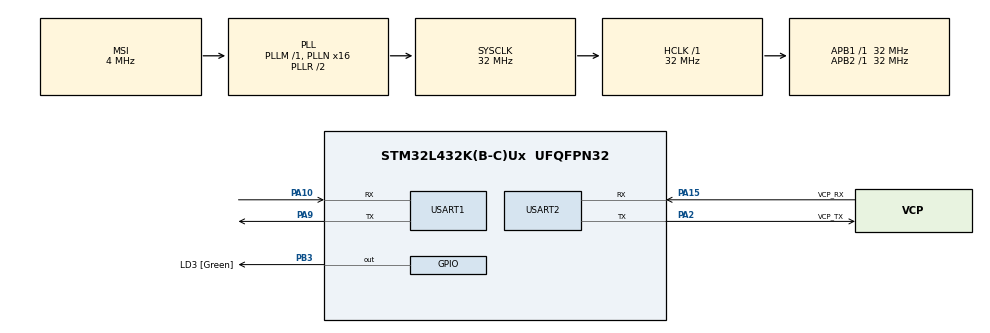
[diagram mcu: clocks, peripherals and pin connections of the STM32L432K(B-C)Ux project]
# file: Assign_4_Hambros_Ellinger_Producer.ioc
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Dma.Request0=USART1_RX
Dma.Request1=USART2_RX
Dma.USART1_RX.0.Direction=DMA_PERIPH_TO_MEMORY
Dma.USART1_RX.0.Instance=DMA1_Channel5
Dma.USART1_RX.0.MemDataAlignment=DMA_MDATAALIGN_BYTE
Dma.USART1_RX.0.MemInc=DMA_MINC_ENABLE
Dma.USART1_RX.0.Mode=DMA_CIRCULAR
Dma.USART1_RX.0.PeriphDataAlignment=DMA_PDATAALIGN_BYTE
Dma.USART1_RX.0.PeriphInc=DMA_PINC_DISABLE
Dma.USART1_RX.0.Priority=DMA_PRIORITY_LOW
Dma.USART2_RX.1.Direction=DMA_PERIPH_TO_MEMORY
Dma.USART2_RX.1.Instance=DMA1_Channel6
Dma.USART2_RX.1.MemDataAlignment=DMA_MDATAALIGN_BYTE
Dma.USART2_RX.1.MemInc=DMA_MINC_ENABLE
Dma.USART2_RX.1.Mode=DMA_CIRCULAR
Dma.USART2_RX.1.PeriphDataAlignment=DMA_PDATAALIGN_BYTE
Dma.USART2_RX.1.PeriphInc=DMA_PINC_DISABLE
Dma.USART2_RX.1.Priority=DMA_PRIORITY_LOW
FREERTOS.CountingSemaphores01=LedSemaphore,4,Dynamic,NULL,0
FREERTOS.Queues01=producerQueue,32,struct producer_msg,0,Dynamic,NULL,NULL;monitorQueue,8,struct monitor_msg,0,Dynamic,NULL,NULL;UARTcommandQueue,8,struct UART_command,0,Dynamic,NULL,NULL
FREERTOS.Tasks01=MonitorTask,32,1200,StartMonitorTask,Default,NULL,Dynamic,NULL,NULL;UARTTask,24,600,StartUARTTask,Default,NULL,Dynamic,NULL,NULL;GreenLEDTAsk,8,128,StartGreenLEDTask,Default,NULL,Dynamic,NULL,NULL
FREERTOS.configTOTAL_HEAP_SIZE=16000
FREERTOS.configUSE_NEWLIB_REENTRANT=1
Mcu.Family=STM32L4
Mcu.Name=STM32L432K(B-C)Ux
Mcu.Package=UFQFPN32
NVIC.DMA1_Channel5_IRQn=true\:5\:0\:false\:false\:true\:true\:false\:true\:true
NVIC.DMA1_Channel6_IRQn=true\:5\:0\:false\:false\:true\:true\:false\:true\:true
NVIC.PriorityGroup=NVIC_PRIORITYGROUP_4
NVIC.TIM7_IRQn=true\:15\:0\:false\:false\:true\:false\:false\:true\:true
NVIC.TimeBase=TIM7_IRQn
NVIC.TimeBaseIP=TIM7
PA0.GPIO_Label=MCO [High speed clock in]
PA0.Mode=HSE-External-Clock-Source-for-LittleOrca
PA0.Signal=RCC_CK_IN
PA10.Mode=Asynchronous
PA10.Signal=USART1_RX
PA13\ (JTMS-SWDIO).GPIO_Label=SWDIO
PA13\ (JTMS-SWDIO).Mode=Serial_Wire
PA13\ (JTMS-SWDIO).Signal=SYS_JTMS-SWDIO
PA14\ (JTCK-SWCLK).GPIO_Label=SWCLK
PA14\ (JTCK-SWCLK).Mode=Serial_Wire
PA14\ (JTCK-SWCLK).Signal=SYS_JTCK-SWCLK
PA15\ (JTDI).GPIO_Label=VCP_RX
PA15\ (JTDI).Mode=Asynchronous
PA15\ (JTDI).Signal=USART2_RX
PA2.GPIO_Label=VCP_TX
PA2.Mode=Asynchronous
PA2.Signal=USART2_TX
PA9.Mode=Asynchronous
PA9.Signal=USART1_TX
PB3\ (JTDO-TRACESWO).GPIO_Label=LD3 [Green]
PB3\ (JTDO-TRACESWO).Signal=GPIO_Output
PC14-OSC32_IN\ (PC14).Mode=LSE-External-Oscillator
PC14-OSC32_IN\ (PC14).Signal=RCC_OSC32_IN
PC15-OSC32_OUT\ (PC15).Mode=LSE-External-Oscillator
PC15-OSC32_OUT\ (PC15).Signal=RCC_OSC32_OUT
ProjectManager.HeapSize=0x200
ProjectManager.StackSize=0x400
ProjectManager.TargetToolchain=STM32CubeIDE
RCC.AHBFreq_Value=32000000
RCC.APB1Freq_Value=32000000
RCC.APB1TimFreq_Value=32000000
RCC.APB2Freq_Value=32000000
RCC.APB2TimFreq_Value=32000000
RCC.CortexFreq_Value=32000000
RCC.HCLKFreq_Value=32000000
RCC.HSE_VALUE=8000000
RCC.HSI16_VALUE=16000000
RCC.HSI48_VALUE=48000000
RCC.HSI_VALUE=16000000
RCC.MSI_VALUE=4000000
RCC.PLLMUL=RCC_PLLMUL_4
RCC.PLLN=16
RCC.SYSCLKFreq_VALUE=32000000
RCC.SYSCLKSource=RCC_SYSCLKSOURCE_PLLCLK
RCC.VCOOutputFreq_Value=64000000
USART1.VirtualMode-Asynchronous=VM_ASYNC
USART2.VirtualMode-Asynchronous=VM_ASYNC
VP_FREERTOS_VS_CMSIS_V2.Mode=CMSIS_V2
VP_SYS_VS_tim7.Mode=TIM7
board=NUCLEO-L432KC

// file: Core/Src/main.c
/* USER CODE BEGIN Header */
/**
  ******************************************************************************
  * @file           : main.c
  * @brief          : Main program body
  ******************************************************************************
  * @attention
  *
  * Copyright (c) 2026 STMicroelectronics.
  * All rights reserved.
  *
  * This software is licensed under terms that can be found in the LICENSE file
  * in the root directory of this software component.
  * If no LICENSE file comes with this software, it is provided AS-IS.
  *
  ******************************************************************************
  */
/* USER CODE END Header */
#include "main.h"
#include "cmsis_os.h"

/* USER CODE BEGIN Includes */
#include "monitor_task.h"
#include "producer_task.h"
#include "UART_task.h"
#include "queue.h"
#include <stdio.h>
#include "semphr.h"

/* USER CODE END Includes */

/* USER CODE BEGIN PD */
#define UART_RX_BUF_SIZE 50
#define UART_TX_BUF_SIZE 150

/* USER CODE END PD */

UART_HandleTypeDef huart1;
UART_HandleTypeDef huart2;
DMA_HandleTypeDef hdma_usart1_rx;
DMA_HandleTypeDef hdma_usart2_rx;

/* Definitions for MonitorTask */
osThreadId_t MonitorTaskHandle;
const osThreadAttr_t MonitorTask_attributes = {
  .name = "MonitorTask",
  .stack_size = 1200 * 4,
  .priority = (osPriority_t) osPriorityAboveNormal,
};
/* Definitions for UARTTask */
osThreadId_t UARTTaskHandle;
const osThreadAttr_t UARTTask_attributes = {
  .name = "UARTTask",
  .stack_size = 600 * 4,
  .priority = (osPriority_t) osPriorityNormal,
};
/* Definitions for GreenLEDTAsk */
osThreadId_t GreenLEDTAskHandle;
const osThreadAttr_t GreenLEDTAsk_attributes = {
  .name = "GreenLEDTAsk",
  .stack_size = 128 * 4,
  .priority = (osPriority_t) osPriorityLow,
};
/* Definitions for producerQueue */
osMessageQueueId_t producerQueueHandle;
const osMessageQueueAttr_t producerQueue_attributes = {
  .name = "producerQueue"
};
/* Definitions for monitorQueue */
osMessageQueueId_t monitorQueueHandle;
const osMessageQueueAttr_t monitorQueue_attributes = {
  .name = "monitorQueue"
};
/* Definitions for UARTcommandQueue */
osMessageQueueId_t UARTcommandQueueHandle;
const osMessageQueueAttr_t UARTcommandQueue_attributes = {
  .name = "UARTcommandQueue"
};
/* Definitions for LedSemaphore */
osSemaphoreId_t LedSemaphoreHandle;
const osSemaphoreAttr_t LedSemaphore_attributes = {
  .name = "LedSemaphore"
};

void SystemClock_Config(void);
static void MX_GPIO_Init(void);
static void MX_DMA_Init(void);
static void MX_USART2_UART_Init(void);
static void MX_USART1_UART_Init(void);
void StartMonitorTask(void *argument);
void StartUARTTask(void *argument);
void StartGreenLEDTask(void *argument);

int main(void)
{

  /* MCU Configuration--------------------------------------------------------*/

  /* Reset of all peripherals, Initializes the Flash interface and the Systick. */
  HAL_Init();

  /* Configure the system clock */
  SystemClock_Config();

  /* Initialize all configured peripherals */
  MX_GPIO_Init();
  MX_DMA_Init();
  MX_USART2_UART_Init();
  MX_USART1_UART_Init();

  /* Init scheduler */
  osKernelInitialize();

  /* Create the semaphores(s) */
  /* creation of LedSemaphore */
  LedSemaphoreHandle = osSemaphoreNew(4, 0, &LedSemaphore_attributes);

  /* Create the queue(s) */
  /* creation of producerQueue */
  producerQueueHandle = osMessageQueueNew (32, sizeof(struct producer_msg), &producerQueue_attributes);

  /* creation of monitorQueue */
  monitorQueueHandle = osMessageQueueNew (8, sizeof(struct monitor_msg), &monitorQueue_attributes);

  /* creation of UARTcommandQueue */
  UARTcommandQueueHandle = osMessageQueueNew (8, sizeof(struct UART_command), &UARTcommandQueue_attributes);

  /* Create the thread(s) */
  /* creation of MonitorTask */
  MonitorTaskHandle = osThreadNew(StartMonitorTask, NULL, &MonitorTask_attributes);

  /* creation of UARTTask */
  UARTTaskHandle = osThreadNew(StartUARTTask, NULL, &UARTTask_attributes);

  /* creation of GreenLEDTAsk */
  GreenLEDTAskHandle = osThreadNew(StartGreenLEDTask, NULL, &GreenLEDTAsk_attributes);

  /* Start scheduler */
  osKernelStart();

  /* We should never get here as control is now taken by the scheduler */

  /* Infinite loop */
  while (1)
  {

  }
}

void SystemClock_Config(void)
{
  RCC_OscInitTypeDef RCC_OscInitStruct = {0};
  RCC_ClkInitTypeDef RCC_ClkInitStruct = {0};

  /** Configure the main internal regulator output voltage
  */
  if (HAL_PWREx_ControlVoltageScaling(PWR_REGULATOR_VOLTAGE_SCALE1) != HAL_OK)
  {
    Error_Handler();
  }

  /** Configure LSE Drive Capability
  */
  HAL_PWR_EnableBkUpAccess();
  __HAL_RCC_LSEDRIVE_CONFIG(RCC_LSEDRIVE_LOW);

  /** Initializes the RCC Oscillators according to the specified parameters
  * in the RCC_OscInitTypeDef structure.
  */
  RCC_OscInitStruct.OscillatorType = RCC_OSCILLATORTYPE_LSE|RCC_OSCILLATORTYPE_MSI;
  RCC_OscInitStruct.LSEState = RCC_LSE_ON;
  RCC_OscInitStruct.MSIState = RCC_MSI_ON;
  RCC_OscInitStruct.MSICalibrationValue = 0;
  RCC_OscInitStruct.MSIClockRange = RCC_MSIRANGE_6;
  RCC_OscInitStruct.PLL.PLLState = RCC_PLL_ON;
  RCC_OscInitStruct.PLL.PLLSource = RCC_PLLSOURCE_MSI;
  RCC_OscInitStruct.PLL.PLLM = 1;
  RCC_OscInitStruct.PLL.PLLN = 16;
  RCC_OscInitStruct.PLL.PLLP = RCC_PLLP_DIV7;
  RCC_OscInitStruct.PLL.PLLQ = RCC_PLLQ_DIV2;
  RCC_OscInitStruct.PLL.PLLR = RCC_PLLR_DIV2;
  if (HAL_RCC_OscConfig(&RCC_OscInitStruct) != HAL_OK)
  {
    Error_Handler();
  }

  /** Initializes the CPU, AHB and APB buses clocks
  */
  RCC_ClkInitStruct.ClockType = RCC_CLOCKTYPE_HCLK|RCC_CLOCKTYPE_SYSCLK
                              |RCC_CLOCKTYPE_PCLK1|RCC_CLOCKTYPE_PCLK2;
  RCC_ClkInitStruct.SYSCLKSource = RCC_SYSCLKSOURCE_PLLCLK;
  RCC_ClkInitStruct.AHBCLKDivider = RCC_SYSCLK_DIV1;
  RCC_ClkInitStruct.APB1CLKDivider = RCC_HCLK_DIV1;
  RCC_ClkInitStruct.APB2CLKDivider = RCC_HCLK_DIV1;

  if (HAL_RCC_ClockConfig(&RCC_ClkInitStruct, FLASH_LATENCY_1) != HAL_OK)
  {
    Error_Handler();
  }

  /** Enable MSI Auto calibration
  */
  HAL_RCCEx_EnableMSIPLLMode();
}

static void MX_USART1_UART_Init(void)
{

  huart1.Instance = USART1;
  huart1.Init.BaudRate = 115200;
  huart1.Init.WordLength = UART_WORDLENGTH_8B;
  huart1.Init.StopBits = UART_STOPBITS_1;
  huart1.Init.Parity = UART_PARITY_NONE;
  huart1.Init.Mode = UART_MODE_TX_RX;
  huart1.Init.HwFlowCtl = UART_HWCONTROL_NONE;
  huart1.Init.OverSampling = UART_OVERSAMPLING_16;
  huart1.Init.OneBitSampling = UART_ONE_BIT_SAMPLE_DISABLE;
  huart1.AdvancedInit.AdvFeatureInit = UART_ADVFEATURE_NO_INIT;
  if (HAL_UART_Init(&huart1) != HAL_OK)
  {
    Error_Handler();
  }

}

static void MX_USART2_UART_Init(void)
{

  huart2.Instance = USART2;
  huart2.Init.BaudRate = 115200;
  huart2.Init.WordLength = UART_WORDLENGTH_8B;
  huart2.Init.StopBits = UART_STOPBITS_1;
  huart2.Init.Parity = UART_PARITY_NONE;
  huart2.Init.Mode = UART_MODE_TX_RX;
  huart2.Init.HwFlowCtl = UART_HWCONTROL_NONE;
  huart2.Init.OverSampling = UART_OVERSAMPLING_16;
  huart2.Init.OneBitSampling = UART_ONE_BIT_SAMPLE_DISABLE;
  huart2.AdvancedInit.AdvFeatureInit = UART_ADVFEATURE_NO_INIT;
  if (HAL_UART_Init(&huart2) != HAL_OK)
  {
    Error_Handler();
  }

}

static void MX_DMA_Init(void)
{

  /* DMA controller clock enable */
  __HAL_RCC_DMA1_CLK_ENABLE();

  /* DMA interrupt init */
  /* DMA1_Channel5_IRQn interrupt configuration */
  HAL_NVIC_SetPriority(DMA1_Channel5_IRQn, 5, 0);
  HAL_NVIC_EnableIRQ(DMA1_Channel5_IRQn);
  /* DMA1_Channel6_IRQn interrupt configuration */
  HAL_NVIC_SetPriority(DMA1_Channel6_IRQn, 5, 0);
  HAL_NVIC_EnableIRQ(DMA1_Channel6_IRQn);

}

static void MX_GPIO_Init(void)
{
  GPIO_InitTypeDef GPIO_InitStruct = {0};

  /* GPIO Ports Clock Enable */
  __HAL_RCC_GPIOC_CLK_ENABLE();
  __HAL_RCC_GPIOA_CLK_ENABLE();
  __HAL_RCC_GPIOB_CLK_ENABLE();

  /*Configure GPIO pin Output Level */
  HAL_GPIO_WritePin(LD3_GPIO_Port, LD3_Pin, GPIO_PIN_RESET);

  /*Configure GPIO pin : LD3_Pin */
  GPIO_InitStruct.Pin = LD3_Pin;
  GPIO_InitStruct.Mode = GPIO_MODE_OUTPUT_PP;
  GPIO_InitStruct.Pull = GPIO_NOPULL;
  GPIO_InitStruct.Speed = GPIO_SPEED_FREQ_LOW;
  HAL_GPIO_Init(LD3_GPIO_Port, &GPIO_InitStruct);

}

void StartMonitorTask(void *argument)
{
  /* USER CODE BEGIN 5 */
	struct 	monitor_msg 		msg_struct 				= {ALL_TASKS,0,0,0};
	struct 	UART_command 		command_struct			= {0,0,0};
	struct 	producer_settings	producer_struct			= {0,0,producerQueueHandle};
			uint8_t 			thread_index			= 0;
			uint8_t 			thread_full_flag		= 0;

	//by default all non explicitly initialized objects with static storage duration are initialized to 0
	struct monitor_task_info 	thread_info_array[256]	=
	{
			{0,0,0,0}
	};

	 osThreadAttr_t ProducerTask_attributes = {
	  .name = "ProducerTask",
	  .stack_size = 128 * 4,
	  .priority = (osPriority_t) osPriorityLow,
	};

	 	uint8_t uart_transmit_buffer[150] = {0};
	 	int buffer_len = 0;
		buffer_len = sprintf((char*) uart_transmit_buffer,"Monitor Task started\n");
		HAL_UART_Transmit(&huart2, uart_transmit_buffer, buffer_len, HAL_MAX_DELAY);

  /* Infinite loop */
  for(;;)
  {

	  while(xQueueReceive(UARTcommandQueueHandle, &command_struct, 0)!=errQUEUE_EMPTY)
	  {
		  buffer_len = sprintf((char*) uart_transmit_buffer,"New monitor command : %d\n", command_struct.UART_command_ID);
		  HAL_UART_Transmit(&huart2, uart_transmit_buffer, buffer_len, HAL_MAX_DELAY);
		  switch (command_struct.UART_command_ID)
		  {
		  case CREATE:

			  for(thread_index = 0; (thread_info_array[thread_index].status != DEAD_TASK) || (thread_info_array[thread_index].time_alive != 0); thread_index++)
			  {
				  if(thread_index >= 255)
				  {
					  for(thread_index = 0; thread_info_array[thread_index].status != DEAD_TASK; thread_index++)
					  {
						  if(thread_index >= 255)
						  {
							 thread_full_flag = 1;
							 break;
						  }
					  }
					  break;
				  }
			  }
			  if(thread_full_flag == 0)
			  {
				  producer_struct.producer_ID 					= thread_index;
				  producer_struct.production_delay 				= command_struct.delay;
				  thread_info_array[thread_index].thread_ID		= osThreadNew(StartProducerTask, &producer_struct, &ProducerTask_attributes);
				  buffer_len = sprintf((char*) uart_transmit_buffer,"Created Task %u\n",thread_index);
				  HAL_UART_Transmit(&huart2, uart_transmit_buffer, buffer_len, HAL_MAX_DELAY);
				  if (thread_info_array[thread_index].thread_ID != NULL)
				  {
					  thread_info_array[thread_index].status			= ALIVE_TASK;
					  thread_info_array[thread_index].production_rate	= (uint16_t) 1000/command_struct.delay;
					  thread_info_array[thread_index].time_alive		= (uint32_t)xTaskGetTickCount();
				  }

			  }
			  else
			  {
				  thread_full_flag = 0;
				  xSemaphoreGive(LedSemaphoreHandle);
			  }
			  msg_struct.msg_ID = SPECIFIC_TASK;
			  msg_struct.data1  = thread_index;
			  break;

		  case DELETE:
			  buffer_len = sprintf((char*) uart_transmit_buffer,"Delete Task : %u\n", command_struct.thread_ID);
			  HAL_UART_Transmit(&huart2, uart_transmit_buffer, buffer_len, HAL_MAX_DELAY);
			  if(thread_info_array[command_struct.thread_ID].status == ALIVE_TASK)
			  {
				  if(osThreadTerminate(thread_info_array[command_struct.thread_ID].thread_ID)==osOK)
				  {
					  thread_info_array[command_struct.thread_ID].status			= DEAD_TASK;
					  thread_info_array[command_struct.thread_ID].production_rate	= 0;
					  thread_info_array[command_struct.thread_ID].time_alive		= ((uint32_t)xTaskGetTickCount())-thread_info_array[thread_index].time_alive;
					  thread_info_array[command_struct.thread_ID].thread_ID			= 0;
				  }

			  }
			  else if(thread_info_array[command_struct.thread_ID].status == DEAD_TASK)
			  {
				  thread_info_array[command_struct.thread_ID].time_alive = 0;

			  }
			  msg_struct.msg_ID = SPECIFIC_TASK;
			  msg_struct.data1  = command_struct.thread_ID;
			  break;

		  case SHOW_ONE:
		  	  msg_struct.msg_ID = SPECIFIC_TASK;
		  	  msg_struct.data1  = command_struct.thread_ID;
		  	  break;
		  case SHOW_ALL:
			  msg_struct.msg_ID = ALL_TASKS;

			  break;

		  }

	  }
	  if(msg_struct.msg_ID == SPECIFIC_TASK)
	  {
		  msg_struct.data2 = thread_info_array[msg_struct.data1].production_rate;
		  if(thread_info_array[msg_struct.data1].status == ALIVE_TASK)
		  {
			  msg_struct.data3 = ((uint32_t) xTaskGetTickCount())-thread_info_array[msg_struct.data1].time_alive;
		  }
		  else
		  {
			  msg_struct.data3 = thread_info_array[msg_struct.data1].time_alive;
		  }
	  }
	  else
	  {
		  msg_struct.data1 	= 0;
		  msg_struct.data2 	= 0;
		  msg_struct.data3  = (uint32_t) xPortGetFreeHeapSize();
		  for(uint16_t i = 0; i<256; i++)
		  {
			  if(thread_info_array[i].status == ALIVE_TASK)
			  {
				  msg_struct.data1++;
				  msg_struct.data2+= thread_info_array[i].production_rate;

			  }
		  }
	  }
	  xQueueSend(monitorQueueHandle,&msg_struct,0);
	  osDelay(500);
  }
  /* USER CODE END 5 */
}

void StartUARTTask(void *argument)
{
  /* USER CODE BEGIN StartUARTTask */

	uint8_t rxBuf[UART_RX_BUF_SIZE] = {0};
	uint8_t txBuf[UART_TX_BUF_SIZE] = {0};
	uint16_t i = 0;
	int len =0;
	int16_t old_pos 				= -1;
	int16_t pos	 					= 0;
	HAL_UART_Receive_DMA(&huart1, rxBuf, UART_RX_BUF_SIZE);

	struct UART_command 		UART_struct 	= {0,0,0};
	struct monitor_msg			monitor_struct	= {0,0,0,0};
	struct producer_msg 	producer_struct = {0,0};

	/* Infinite loop */
	for(;;)
	{
		 pos = UART_RX_BUF_SIZE - __HAL_DMA_GET_COUNTER(huart1.hdmarx);
		if (pos != old_pos)
		{

			if (pos >= old_pos+4)
			{

				//normal case

				UART_struct.UART_command_ID = rxBuf[old_pos+1];
				UART_struct.thread_ID 		= rxBuf[old_pos+2];
				UART_struct.delay = (rxBuf[old_pos+3]<<8)|rxBuf[old_pos+4];
				old_pos += 4;
				xQueueSend(UARTcommandQueueHandle,&UART_struct,0);
				len = sprintf((char*) txBuf,"New uart command: %hu\n", UART_struct.UART_command_ID) ;
				HAL_UART_Transmit(&huart2, txBuf, len, HAL_MAX_DELAY);

			}
			else if((old_pos > pos) && (pos>=old_pos +4 - UART_RX_BUF_SIZE))
			{
				UART_struct.UART_command_ID = rxBuf[((old_pos+1)<50)?(old_pos+1):(old_pos+1-UART_RX_BUF_SIZE)];
				UART_struct.thread_ID 		= rxBuf[((old_pos+2)<50)?(old_pos+2):(old_pos+2-UART_RX_BUF_SIZE)];
				UART_struct.delay = (rxBuf[((old_pos+3)<50)?(old_pos+3):(old_pos+3-UART_RX_BUF_SIZE)]<<8)|rxBuf[((old_pos+4)<50)?(old_pos+4):(old_pos+4-UART_RX_BUF_SIZE)];
				((old_pos+4)<50)?(old_pos = old_pos + 4):(old_pos =old_pos+4-UART_RX_BUF_SIZE);
				xQueueSend(UARTcommandQueueHandle,&UART_struct,0);
			}

		}

		while(xQueueReceive(monitorQueueHandle, &monitor_struct, 0)!=errQUEUE_EMPTY)
		{
			monitor_struct_to_uint8(monitor_struct,txBuf);
			HAL_UART_Transmit(&huart1, txBuf, sizeof(struct monitor_msg), 100);
			len = sprintf((char*) txBuf,"MSG:ID %hu ID/Numb: %hu,Production Rate: %hu, Time Alive/Stack: %lu \n",monitor_struct.msg_ID, monitor_struct.data1,monitor_struct.data2,monitor_struct.data3) ;
			HAL_UART_Transmit(&huart2, txBuf, len, HAL_MAX_DELAY);

		}
		i=0;
		while((xQueueReceive(producerQueueHandle, &producer_struct, 0)!=errQUEUE_EMPTY)&& i <500)
		{
			producer_struct_to_uint8(producer_struct,txBuf);
			HAL_UART_Transmit(&huart1, txBuf, 4, 100);
			HAL_UART_Transmit(&huart2, txBuf, 4, 100);
			len = sprintf((char*) txBuf,"Producer %hu Value: %hu\n", producer_struct.producer_ID, producer_struct.producer_value) ;
			HAL_UART_Transmit(&huart2, txBuf, len, HAL_MAX_DELAY);
			len = sprintf((char*) txBuf,"%hu, %hu, %hu, %hu\n", txBuf[0], txBuf[1],txBuf[2], txBuf[3]) ;
			HAL_UART_Transmit(&huart2, txBuf, len, HAL_MAX_DELAY);
			i++;
		}

		osDelay(1);
	 }
  /* USER CODE END StartUARTTask */
}

void StartGreenLEDTask(void *argument)
{
  /* USER CODE BEGIN StartGreenLEDTask */
  /* Infinite loop */
  for(;;)
  {
		HAL_GPIO_WritePin(GPIOA, GPIO_PIN_8, GPIO_PIN_RESET);
	  /* Infinite loop */
	  for(;;)
	  {
		  xSemaphoreTake(LedSemaphoreHandle, HAL_MAX_DELAY);
		  for(int i = 0; i<20; i++)
		  {
			  HAL_GPIO_WritePin(GPIOB, GPIO_PIN_3, GPIO_PIN_SET);
			  osDelay(100);
			  HAL_GPIO_WritePin(GPIOB, GPIO_PIN_3, GPIO_PIN_RESET);
			  osDelay(100);
		  }

	  }
  }
  /* USER CODE END StartGreenLEDTask */
}

void HAL_TIM_PeriodElapsedCallback(TIM_HandleTypeDef *htim)
{
  if (htim->Instance == TIM7)
  {
    HAL_IncTick();
  }
}

void Error_Handler(void)
{
  __disable_irq();
  while (1)
  {
  }
}
